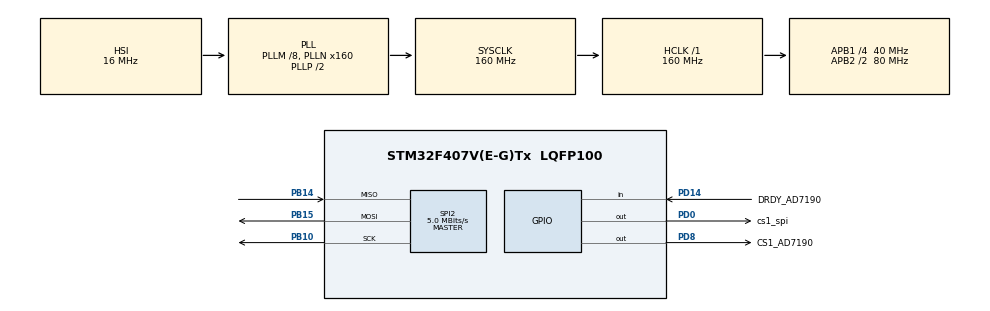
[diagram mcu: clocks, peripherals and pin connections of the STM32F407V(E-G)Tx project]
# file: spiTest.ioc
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Mcu.Family=STM32F4
Mcu.Name=STM32F407V(E-G)Tx
Mcu.Package=LQFP100
NVIC.PriorityGroup=NVIC_PRIORITYGROUP_4
NVIC.TIM1_BRK_TIM9_IRQn=true\:0\:0\:false\:false\:true\:true\:true
NVIC.TIM1_CC_IRQn=true\:0\:0\:false\:false\:true\:true\:true
NVIC.TIM1_TRG_COM_TIM11_IRQn=true\:0\:0\:false\:false\:true\:true\:true
NVIC.TIM1_UP_TIM10_IRQn=true\:0\:0\:false\:false\:true\:true\:true
PA13.Mode=Serial_Wire
PA13.Signal=SYS_JTMS-SWDIO
PA14.Mode=Serial_Wire
PA14.Signal=SYS_JTCK-SWCLK
PA6.Signal=SPI1_MISO
PB10.Mode=Full_Duplex_Master
PB10.Signal=SPI2_SCK
PB14.GPIO_PuPd=GPIO_PULLUP
PB14.Mode=Full_Duplex_Master
PB14.Signal=SPI2_MISO
PB15.Mode=Full_Duplex_Master
PB15.Signal=SPI2_MOSI
PB5.Signal=SPI1_MOSI
PD0.GPIO_Label=cs1_spi
PD0.GPIO_Speed=GPIO_SPEED_FREQ_HIGH
PD0.Signal=GPIO_Output
PD14.GPIO_Label=DRDY_AD7190
PD14.GPIO_PuPd=GPIO_PULLUP
PD14.Signal=GPIO_Input
PD8.GPIO_Label=CS1_AD7190
PD8.GPIO_Speed=GPIO_SPEED_FREQ_HIGH
PD8.Signal=GPIO_Output
ProjectManager.HeapSize=0x200
ProjectManager.StackSize=0x400
ProjectManager.TargetToolchain=MDK-ARM V5.27
RCC.48MHZClocksFreq_Value=80000000
RCC.AHBFreq_Value=160000000
RCC.APB1CLKDivider=RCC_HCLK_DIV4
RCC.APB1Freq_Value=40000000
RCC.APB1TimFreq_Value=80000000
RCC.APB2CLKDivider=RCC_HCLK_DIV2
RCC.APB2Freq_Value=80000000
RCC.APB2TimFreq_Value=160000000
RCC.CortexFreq_Value=160000000
RCC.HCLKFreq_Value=160000000
RCC.HSE_VALUE=25000000
RCC.HSI_VALUE=16000000
RCC.LSE_VALUE=32768
RCC.PLLM=8
RCC.PLLN=160
RCC.SYSCLKFreq_VALUE=160000000
RCC.SYSCLKSource=RCC_SYSCLKSOURCE_PLLCLK
RCC.VCOOutputFreq_Value=320000000
SPI2.BaudRatePrescaler=SPI_BAUDRATEPRESCALER_8
SPI2.CLKPhase=SPI_PHASE_2EDGE
SPI2.CLKPolarity=SPI_POLARITY_HIGH
SPI2.CalculateBaudRate=5.0 MBits/s
SPI2.Direction=SPI_DIRECTION_2LINES
SPI2.Mode=SPI_MODE_MASTER
SPI2.VirtualType=VM_MASTER
TIM1.Period=999
TIM1.Prescaler=159
VP_TIM1_VS_ClockSourceINT.Mode=Internal
board=custom

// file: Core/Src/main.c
/* USER CODE BEGIN Header */
/**
  ******************************************************************************
  * @file           : main.c
  * @brief          : Main program body
  ******************************************************************************
  * @attention
  *
  * <h2><center>&copy; Copyright (c) 2024 STMicroelectronics.
  * All rights reserved.</center></h2>
  *
  * This software component is licensed by ST under BSD 3-Clause license,
  * the "License"; You may not use this file except in compliance with the
  * License. You may obtain a copy of the License at:
  *                        opensource.org/licenses/BSD-3-Clause
  *
  ******************************************************************************
  */
/* USER CODE END Header */
#include "main.h"
#include "spi.h"
#include "tim.h"
#include "gpio.h"

/* USER CODE BEGIN Includes */
#include "AD7190.h"
/* USER CODE END Includes */

/* USER CODE BEGIN PTD */
#define MAX_MESSAGE_BYTES              64
/* USER CODE END PTD */

/* USER CODE BEGIN PV */

char data[MAX_MESSAGE_BYTES];
  uint32_t sampleCount = 0;

/*uint32_t rawAd7190Data = 0;
uint32_t regModeSettings = 0;
uint32_t regConfigSettings = 0;
uint8_t regGPIOSettings = 0;*/
int32_t AD7190_rawZero = 0x7FD9F;
int32_t final = 0;
float tempAd = 0;
/*uint32_t  TONE_SENSOR = WEIGHT_SENSOR_TONE_KG; //1000Kg
float   kSensor = CALIBRATE_FACTOR;
uint8_t vSensor = VOLTAGE_SENSOR;*/
//float rawAd7190Data_float;
uint8_t rdyPin = 0;
/* USER CODE END PV */

void SystemClock_Config(void);

int main(void)
{

  /* MCU Configuration--------------------------------------------------------*/

  /* Reset of all peripherals, Initializes the Flash interface and the Systick. */
  HAL_Init();

  /* Configure the system clock */
  SystemClock_Config();

  /* Initialize all configured peripherals */
  MX_GPIO_Init();
  MX_SPI2_Init();
  MX_TIM1_Init();
  /* USER CODE BEGIN 2 */
  AD7190_begin(&AD7190_1);

	AD7190_getTemperature(&AD7190_1);
	HAL_TIM_Base_Start_IT(&htim1);
  /* USER CODE END 2 */

  /* Infinite loop */
  /* USER CODE BEGIN WHILE */
  while (1)
  {
			AD7190_readRegisterData(&AD7190_1, &load_1, &loadCell1);
    /* USER CODE END WHILE */

  }
}

void SystemClock_Config(void)
{
  RCC_OscInitTypeDef RCC_OscInitStruct = {0};
  RCC_ClkInitTypeDef RCC_ClkInitStruct = {0};

  /** Configure the main internal regulator output voltage
  */
  __HAL_RCC_PWR_CLK_ENABLE();
  __HAL_PWR_VOLTAGESCALING_CONFIG(PWR_REGULATOR_VOLTAGE_SCALE1);
  /** Initializes the RCC Oscillators according to the specified parameters
  * in the RCC_OscInitTypeDef structure.
  */
  RCC_OscInitStruct.OscillatorType = RCC_OSCILLATORTYPE_HSI;
  RCC_OscInitStruct.HSIState = RCC_HSI_ON;
  RCC_OscInitStruct.HSICalibrationValue = RCC_HSICALIBRATION_DEFAULT;
  RCC_OscInitStruct.PLL.PLLState = RCC_PLL_ON;
  RCC_OscInitStruct.PLL.PLLSource = RCC_PLLSOURCE_HSI;
  RCC_OscInitStruct.PLL.PLLM = 8;
  RCC_OscInitStruct.PLL.PLLN = 160;
  RCC_OscInitStruct.PLL.PLLP = RCC_PLLP_DIV2;
  RCC_OscInitStruct.PLL.PLLQ = 4;
  if (HAL_RCC_OscConfig(&RCC_OscInitStruct) != HAL_OK)
  {
    Error_Handler();
  }
  /** Initializes the CPU, AHB and APB buses clocks
  */
  RCC_ClkInitStruct.ClockType = RCC_CLOCKTYPE_HCLK|RCC_CLOCKTYPE_SYSCLK
                              |RCC_CLOCKTYPE_PCLK1|RCC_CLOCKTYPE_PCLK2;
  RCC_ClkInitStruct.SYSCLKSource = RCC_SYSCLKSOURCE_PLLCLK;
  RCC_ClkInitStruct.AHBCLKDivider = RCC_SYSCLK_DIV1;
  RCC_ClkInitStruct.APB1CLKDivider = RCC_HCLK_DIV4;
  RCC_ClkInitStruct.APB2CLKDivider = RCC_HCLK_DIV2;

  if (HAL_RCC_ClockConfig(&RCC_ClkInitStruct, FLASH_LATENCY_5) != HAL_OK)
  {
    Error_Handler();
  }
}

/* USER CODE BEGIN 4 */
void HAL_TIM_PeriodElapsedCallback(TIM_HandleTypeDef *htim)
{
	if (htim->Instance == TIM1)
	{
			AD7190_1.timeOutMilis --;
	}
}
/* USER CODE END 4 */

void Error_Handler(void)
{
  __disable_irq();
  while (1)
  {
  }
}

/************************ (C) COPYRIGHT STMicroelectronics *****END OF FILE****/
